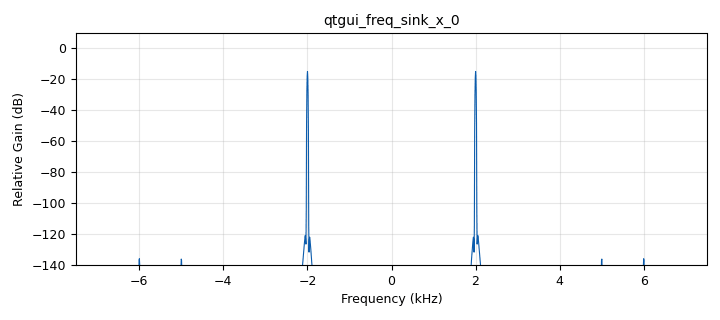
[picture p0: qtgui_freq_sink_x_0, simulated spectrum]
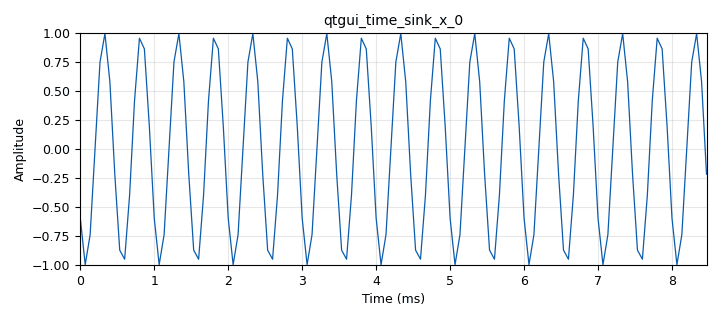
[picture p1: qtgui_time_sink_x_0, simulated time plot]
options:
  parameters:
    author: KevinJimenez_J1BG4
    copyright: '2022'
    generate_options: qt_gui
    id: Lab_1_Punto_1_A
    output_language: python
    title: Lab1
  states: {}

blocks:
- name: freq
  id: variable_qtgui_range
  parameters:
    label: Frecuency
    orient: Qt.Horizontal
    start: 1e3
    step: 1e3
    stop: 40e3
    value: 2e3
  states: {}
- name: samp_rate
  id: variable
  parameters:
    value: '15000'
  states: {}
- name: analog_sig_source_x_0
  id: analog_sig_source_x
  parameters:
    amp: '1'
    freq: freq
    offset: '0'
    phase: '0'
    samp_rate: samp_rate
    type: float
    waveform: analog.GR_SIN_WAVE
  states: {}
- name: blocks_throttle_0
  id: blocks_throttle
  parameters:
    samples_per_second: samp_rate
    type: float
  states: {}
- name: qtgui_freq_sink_x_0
  id: qtgui_freq_sink_x
  parameters:
    bw: samp_rate
    fc: '0'
    fftsize: '2048'
    type: float
    wintype: firdes.WIN_BLACKMAN_hARRIS
  states: {}
- name: qtgui_time_sink_x_0
  id: qtgui_time_sink_x
  parameters:
    size: '128'
    srate: samp_rate
    type: float
  states: {}

connections:
- [analog_sig_source_x_0, '0', blocks_throttle_0, '0']
- [blocks_throttle_0, '0', qtgui_freq_sink_x_0, '0']
- [blocks_throttle_0, '0', qtgui_time_sink_x_0, '0']

metadata:
  file_format: 1
